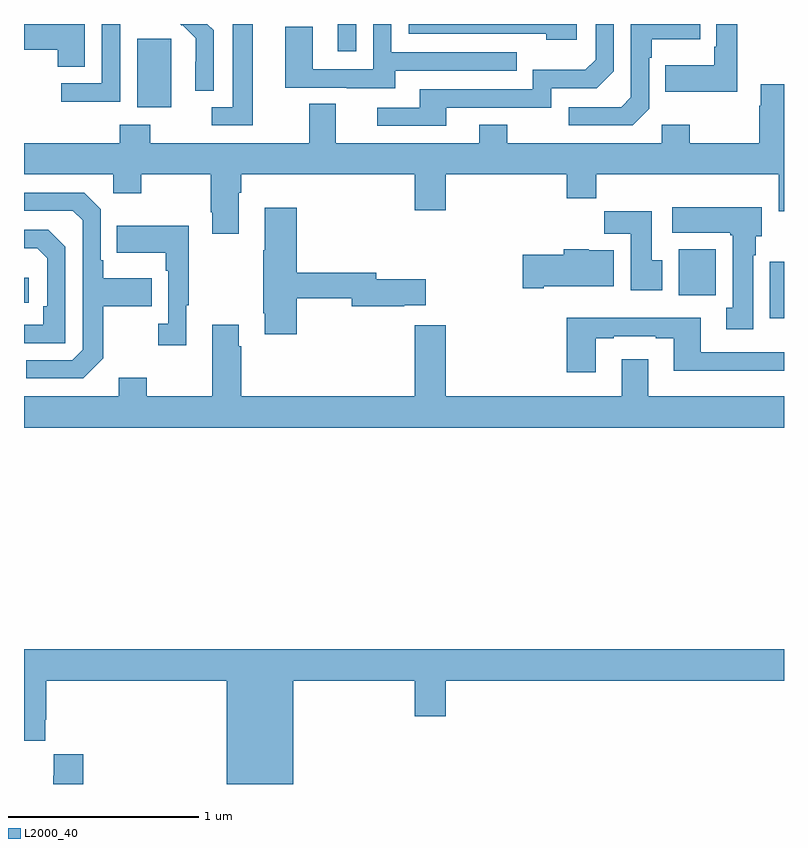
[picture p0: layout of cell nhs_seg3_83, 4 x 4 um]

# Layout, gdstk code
import gdstk
lib = gdstk.Library(unit=1e-6, precision=1e-09)
def R(c, l, rs):  # rectangles x0, y0, x1, y1
    for r in rs: c.add(gdstk.rectangle(r[:2], r[2:], *l))
def P(c, l, *ps):  # polygons
    for p in ps: c.add(gdstk.Polygon(p, *l))
L2000_40 = (2000, 40)

nhs_seg3_83 = lib.new_cell('nhs_seg3_83')
R(nhs_seg3_83, L2000_40, [(118.925,674.852,119,675.148), (115,674.934,115.024,675.064), (118.445,674.972,118.642,675.214), (115.595,675.962,115.774,676.323), (116.651,676.257,116.748,676.4)])
P(nhs_seg3_83, L2000_40, [(116.203,676.4),(116.099,676.4),(116.099,675.963),(115.989,675.963),(115.989,675.867),(116.203,675.867)],
  [(117.223,675.96),(117.774,675.96),(117.774,676.062),(118.014,676.062),(118.104,676.152),(118.104,676.4),(118.008,676.4),(118.008,676.212),(117.955,676.159),(117.678,676.159),(117.678,676.056),(117.083,676.056),(117.083,675.96),(116.859,675.96),(116.859,675.864),(117.223,675.864)],
  [(118.29,675.954),(118.29,676.223),(118.303,676.223),(118.303,676.319),(118.559,676.319),(118.559,676.4),(118.194,676.4),(118.194,676.014),(118.143,675.963),(117.867,675.963),(117.867,675.867),(118.203,675.867)],
  [(115.506,676.4),(115.41,676.4),(115.41,676.089),(115.197,676.089),(115.197,675.991),(115.506,675.991)],
  [(115.998,676.366),(115.964,676.4),(115.822,676.4),(115.83,676.392),(115.833,676.395),(115.904,676.325),(115.904,676.202),(115.902,676.202),(115.902,676.048),(115.998,676.048)],
  [(117.91,676.4),(117.024,676.4),(117.024,676.35),(117.749,676.35),(117.749,676.316),(117.91,676.316)],
  [(116.953,676.155),(117.593,676.155),(117.593,676.251),(116.934,676.251),(116.934,676.4),(116.838,676.4),(116.838,676.161),(116.52,676.161),(116.52,676.385),(116.375,676.385),(116.375,676.065),(116.699,676.065),(116.699,676.061),(116.953,676.061)],
  [(118.753,676.4),(118.644,676.4),(118.644,676.279),(118.632,676.279),(118.632,676.183),(118.375,676.183),(118.375,676.043),(118.753,676.043)],
  [(115.321,676.4),(115,676.4),(115,676.265),(115.178,676.265),(115.178,676.174),(115.321,676.174)],
  [(116.131,675.512),(116.144,675.512),(116.144,675.608),(117.056,675.608),(117.056,675.42),(117.22,675.42),(117.22,675.608),(117.857,675.608),(117.857,675.484),(118.013,675.484),(118.013,675.608),(118.973,675.608),(118.973,675.414),(119,675.414),(119,676.084),(118.877,676.084),(118.877,675.971),(118.87,675.971),(118.87,675.772),(118.503,675.772),(118.503,675.871),(118.356,675.871),(118.356,675.772),(117.543,675.772),(117.543,675.871),(117.395,675.871),(117.395,675.772),(116.641,675.772),(116.641,675.98),(116.501,675.98),(116.501,675.772),(115.665,675.772),(115.665,675.871),(115.505,675.871),(115.505,675.772),(115,675.772),(115,675.608),(115.47,675.608),(115.47,675.509),(115.617,675.509),(115.617,675.608),(115.984,675.608),(115.984,675.409),(115.991,675.409),(115.991,675.297),(116.131,675.297)],
  [(115.417,674.641),(115.417,674.914),(115.673,674.914),(115.673,675.061),(115.417,675.061),(115.417,675.157),(115.404,675.157),(115.404,675.426),(115.317,675.513),(115,675.513),(115,675.417),(115.257,675.417),(115.308,675.366),(115.308,674.685),(115.254,674.631),(115.011,674.631),(115.011,674.535),(115.311,674.535)],
  [(118.837,675.182),(118.852,675.182),(118.852,675.282),(118.882,675.282),(118.882,675.436),(118.413,675.436),(118.413,675.302),(118.717,675.302),(118.717,675.289),(118.73,675.289),(118.73,674.906),(118.697,674.906),(118.697,674.793),(118.837,674.793)],
  [(116.435,674.956),(116.726,674.956),(116.726,674.914),(117.002,674.914),(117.002,674.921),(117.115,674.921),(117.115,675.056),(116.854,675.056),(116.854,675.092),(116.435,675.092),(116.435,675.433),(116.267,675.433),(116.267,675.209),(116.26,675.209),(116.26,674.878),(116.267,674.878),(116.267,674.766),(116.435,674.766)],
  [(118.36,675.156),(118.303,675.156),(118.303,675.415),(118.054,675.415),(118.054,675.296),(118.193,675.296),(118.193,675),(118.36,675)],
  [(115.855,674.921),(115.867,674.921),(115.867,675.337),(115.489,675.337),(115.489,675.197),(115.746,675.197),(115.746,675.101),(115.758,675.101),(115.758,674.822),(115.707,674.822),(115.707,674.709),(115.855,674.709)],
  [(115.218,675.228),(115.128,675.318),(115,675.318),(115,675.221),(115.069,675.221),(115.122,675.168),(115.122,674.914),(115.102,674.914),(115.102,674.817),(115,674.817),(115,674.721),(115.218,674.721)],
  [(117.736,675.02),(118.105,675.02),(118.105,675.208),(117.972,675.208),(117.972,675.214),(117.842,675.214),(117.842,675.186),(117.624,675.186),(117.624,675.008),(117.736,675.008)],
  [(118.009,674.745),(118.105,674.745),(118.105,674.757),(118.325,674.757),(118.325,674.745),(118.421,674.745),(118.421,674.576),(119,674.576),(119,674.673),(118.561,674.673),(118.561,674.854),(117.857,674.854),(117.857,674.568),(118.009,674.568)],
  [(119,674.44),(118.285,674.44),(118.285,674.635),(118.145,674.635),(118.145,674.44),(117.22,674.44),(117.22,674.815),(117.056,674.815),(117.056,674.44),(116.144,674.44),(116.144,674.705),(116.131,674.705),(116.131,674.818),(115.991,674.818),(115.991,674.44),(115.647,674.44),(115.647,674.539),(115.499,674.539),(115.499,674.44),(115,674.44),(115,674.276),(119,674.276)],
  [(116.416,672.944),(117.056,672.944),(117.056,672.756),(117.22,672.756),(117.22,672.944),(119,672.944),(119,673.108),(115,673.108),(115,672.627),(115.111,672.627),(115.111,672.739),(115.118,672.739),(115.118,672.944),(116.066,672.944),(116.066,672.4),(116.416,672.4)],
  [(115.313,672.556),(115.157,672.556),(115.157,672.443),(115.153,672.443),(115.153,672.4),(115.313,672.4)])

lib.write_gds('nhs_seg3_83.gds')
